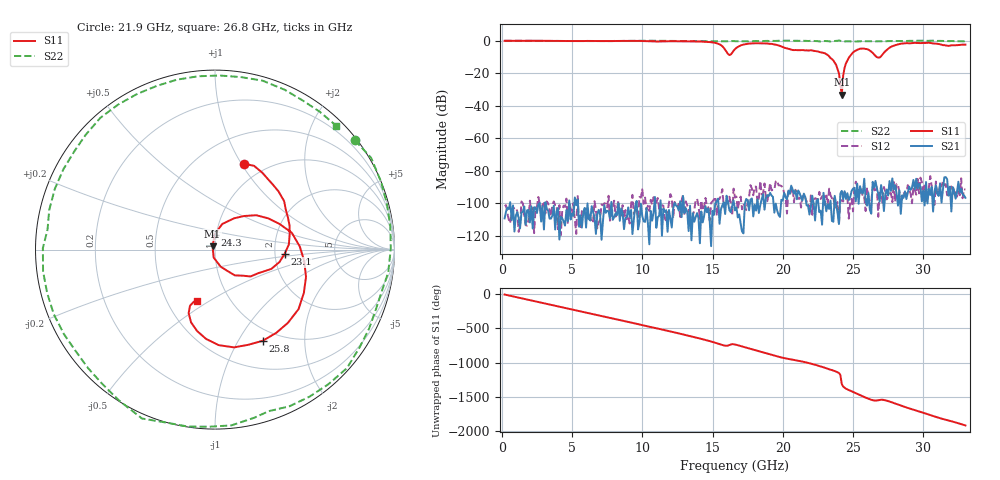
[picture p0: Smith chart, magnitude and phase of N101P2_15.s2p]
# GHZ S RI R 50
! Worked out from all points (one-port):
!   329 points, 200 MHz to 33 GHz, reference 50 ohm
!   lowest |S11| = -33.1 dB at 24.2 GHz (marker M1), VSWR 1.05, Z = 48.6 + j1.71 ohm
!   |S11| at or under -10 dB: 23.34 GHz to 24.74 GHz (1.4 GHz wide, 5.82 % of centre); 26.69 GHz to 26.93 GHz (240.6 MHz wide, 0.898 % of centre)
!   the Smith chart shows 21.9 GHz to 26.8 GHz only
!   S11 on the Smith chart (normalised r, x): 21.9 GHz: 0.80, +1.03; 23.1 GHz: 2.27, -0.12; 24.3 GHz: 0.98, +0.17; 25.8 GHz: 0.84, -1.27; 26.8 GHz: 0.70, -0.44
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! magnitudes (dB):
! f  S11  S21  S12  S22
! 200 MHz  0.0  -109.3  -101.7  0.0
! 5.7 GHz  -0.1  -115.0  -104.9  -0.1
! 11.2 GHz  -0.4  -107.7  -103.4  0.0
! 15.2 GHz  -1.3  -100.2  -96.0  -0.3
! 16.2 GHz  -8.8  -104.3  -96.0  -0.3
! 16.6 GHz  -5.1  -104.4  -96.6  -0.2
! 17.3 GHz  -2.1  -100.2  -101.8  -0.3
! 18.8 GHz  -1.6  -97.1  -96.7  -0.1
! 21.9 GHz  -5.9  -107.0  -106.2  -0.1
! 22.1 GHz  -6.0  -95.4  -107.1  0.0
! 23.1 GHz  -8.2  -105.0  -95.3  -0.2
! 23.8 GHz  -14.8  -100.7  -102.0  0.0
! 24 GHz  -20.0  -112.8  -113.4  0.2
! 24.2 GHz  -33.1  -92.4  -98.1  -0.2
! 24.3 GHz  -21.5  -97.7  -98.9  -0.3
! 24.5 GHz  -13.8  -97.3  -95.1  -0.3
! 24.8 GHz  -9.3  -96.1  -99.0  -0.3
! 25.8 GHz  -4.8  -84.9  -96.3  -0.3
! 26.8 GHz  -10.3  -94.0  -108.3  -0.3
! 27.6 GHz  -4.2  -86.3  -93.8  -0.2
! 28.8 GHz  -1.4  -97.4  -93.8  -0.1
! 33 GHz  -2.4  -96.7  -91.5  -0.3
